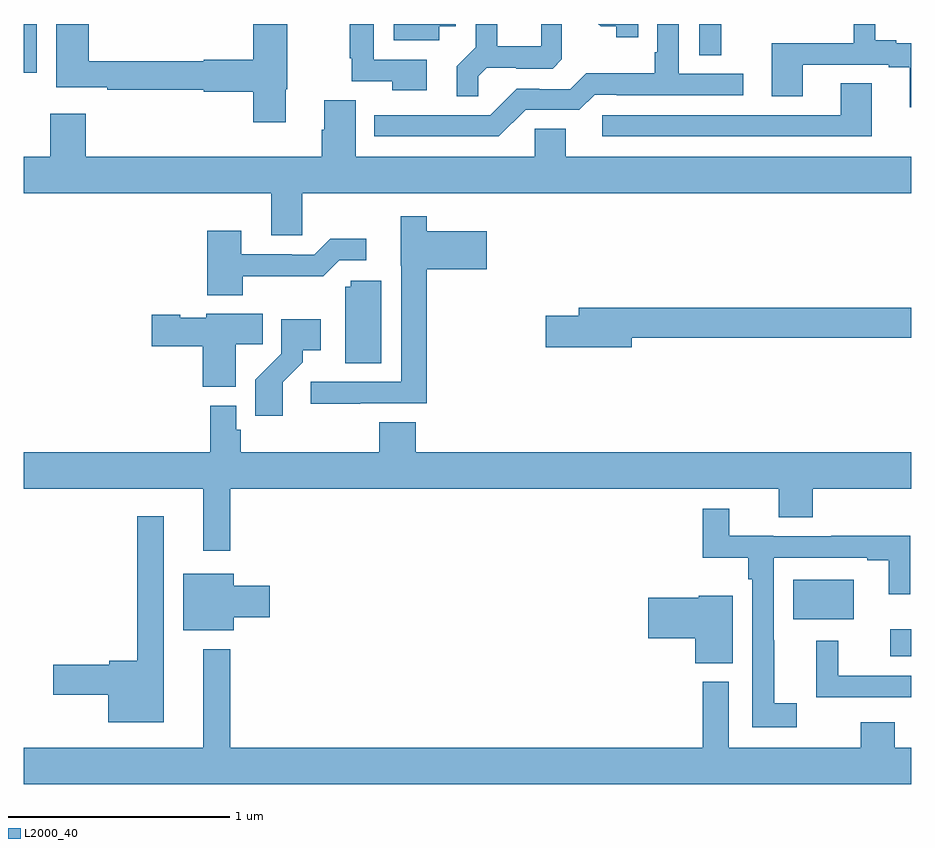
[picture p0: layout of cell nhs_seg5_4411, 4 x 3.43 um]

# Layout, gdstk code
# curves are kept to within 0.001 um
import gdstk
lib = gdstk.Library(unit=1e-6, precision=1e-09)
def R(c, l, rs):  # rectangles x0, y0, x1, y1
    for r in rs: c.add(gdstk.rectangle(r[:2], r[2:], *l))
def P(c, l, *ps):  # polygons
    for p in ps: c.add(gdstk.Polygon(p, *l))
L2000_40 = (2000, 40)

nhs_seg5_4411 = lib.new_cell('nhs_seg5_4411')
R(nhs_seg5_4411, L2000_40, [(372.906,911.948,373,912.07), (372.47,912.116,372.742,912.292), (369,914.579,369.058,914.799), (372.045,914.659,372.144,914.799)])
P(nhs_seg5_4411, L2000_40, [(370.873,914.789),(370.948,914.789),(370.948,914.799),(370.667,914.799),(370.667,914.726),(370.873,914.726)],
  [(371.771,914.799),(371.59,914.799),(371.6,914.789),(371.67,914.789),(371.67,914.739),(371.771,914.739)],
  [(370.816,914.637),(370.578,914.637),(370.578,914.799),(370.47,914.799),(370.47,914.644),(370.477,914.644),(370.477,914.541),(370.66,914.541),(370.66,914.501),(370.816,914.501)],
  [(371.049,914.564),(371.086,914.601),(371.22,914.601),(371.22,914.598),(371.385,914.598),(371.426,914.639),(371.426,914.799),(371.332,914.799),(371.332,914.698),(371.135,914.698),(371.135,914.799),(371.037,914.799),(371.037,914.695),(370.951,914.609),(370.951,914.473),(371.049,914.473)],
  [(371.262,914.412),(371.505,914.412),(371.574,914.481),(371.674,914.481),(371.674,914.478),(372.244,914.478),(372.244,914.574),(371.952,914.574),(371.952,914.799),(371.856,914.799),(371.856,914.671),(371.844,914.671),(371.844,914.578),(371.536,914.578),(371.463,914.505),(371.324,914.505),(371.324,914.508),(371.223,914.508),(371.103,914.388),(370.58,914.388),(370.58,914.292),(371.142,914.292)],
  [(373,914.712),(372.934,914.712),(372.934,914.725),(372.838,914.725),(372.838,914.799),(372.741,914.799),(372.741,914.712),(372.371,914.712),(372.371,914.473),(372.511,914.473),(372.511,914.616),(372.899,914.616),(372.899,914.604),(372.995,914.604),(372.995,914.424),(373,914.424)],
  [(370.18,914.505),(370.188,914.505),(370.188,914.799),(370.034,914.799),(370.034,914.638),(369.81,914.638),(369.81,914.63),(369.293,914.63),(369.293,914.799),(369.146,914.799),(369.146,914.514),(369.376,914.514),(369.376,914.502),(369.81,914.502),(369.81,914.494),(370.034,914.494),(370.034,914.355),(370.18,914.355)],
  [(372.823,914.531),(372.683,914.531),(372.683,914.388),(371.607,914.388),(371.607,914.292),(372.823,914.292)],
  [(370.254,914.036),(373,914.036),(373,914.2),(371.443,914.2),(371.443,914.327),(371.304,914.327),(371.304,914.2),(370.495,914.2),(370.495,914.456),(370.355,914.456),(370.355,914.322),(370.343,914.322),(370.343,914.2),(369.278,914.2),(369.278,914.395),(369.118,914.395),(369.118,914.2),(369,914.2),(369,914.036),(370.115,914.036),(370.115,913.846),(370.254,913.846)],
  [(370.517,913.089),(370.817,913.089),(370.817,913.694),(371.086,913.694),(371.086,913.864),(370.817,913.864),(370.817,913.933),(370.7,913.933),(370.7,913.71),(370.701,913.71),(370.701,913.185),(370.293,913.185),(370.293,913.087),(370.517,913.087)],
  [(369.987,913.662),(370.349,913.661),(370.422,913.734),(370.543,913.734),(370.543,913.831),(370.381,913.831),(370.308,913.758),(370.208,913.758),(370.208,913.761),(369.979,913.761),(369.979,913.867),(369.827,913.867),(369.827,913.577),(369.987,913.577)],
  [(370.612,913.641),(370.473,913.641),(370.473,913.614),(370.448,913.614),(370.448,913.27),(370.612,913.27)],
  [(371.74,913.384),(373,913.384),(373,913.52),(371.501,913.52),(371.501,913.484),(371.352,913.484),(371.352,913.342),(371.74,913.342)],
  [(369.955,913.354),(370.076,913.354),(370.076,913.492),(369.822,913.492),(369.822,913.474),(369.705,913.474),(369.705,913.487),(369.576,913.487),(369.576,913.345),(369.806,913.345),(369.806,913.163),(369.955,913.163)],
  [(370.168,913.183),(370.258,913.273),(370.258,913.328),(370.339,913.328),(370.339,913.468),(370.161,913.468),(370.161,913.313),(370.042,913.194),(370.042,913.032),(370.168,913.032)],
  [(369.931,912.704),(372.404,912.704),(372.404,912.574),(372.557,912.574),(372.557,912.704),(373,912.704),(373,912.868),(370.766,912.868),(370.766,913.004),(370.601,913.004),(370.601,912.868),(369.977,912.868),(369.977,912.969),(369.957,912.969),(369.957,913.078),(369.841,913.078),(369.841,912.868),(369,912.868),(369,912.704),(369.809,912.704),(369.809,912.423),(369.931,912.423)],
  [(372.484,911.737),(372.383,911.737),(372.383,912.02),(372.381,912.02),(372.381,912.393),(372.803,912.393),(372.803,912.381),(372.899,912.381),(372.899,912.228),(372.996,912.228),(372.996,912.491),(372.64,912.491),(372.64,912.489),(372.378,912.489),(372.378,912.491),(372.18,912.491),(372.18,912.613),(372.061,912.613),(372.061,912.392),(372.265,912.392),(372.265,912.296),(372.285,912.296),(372.285,911.628),(372.484,911.628)],
  [(369.631,912.58),(369.51,912.58),(369.51,911.927),(369.384,911.927),(369.384,911.909),(369.132,911.909),(369.132,911.774),(369.38,911.774),(369.38,911.651),(369.631,911.651)],
  [(369.946,912.125),(370.108,912.125),(370.108,912.267),(369.946,912.267),(369.946,912.319),(369.719,912.319),(369.719,912.065),(369.946,912.065)],
  [(372.196,912.22),(372.042,912.22),(372.042,912.212),(371.814,912.212),(371.814,912.029),(372.026,912.029),(372.026,911.917),(372.196,911.917)],
  [(373,911.859),(372.672,911.859),(372.672,912.019),(372.572,912.019),(372.572,911.763),(373,911.763)],
  [(373,911.536),(372.926,911.536),(372.926,911.65),(372.773,911.65),(372.773,911.536),(372.177,911.536),(372.177,911.832),(372.061,911.832),(372.061,911.536),(369.931,911.536),(369.931,911.98),(369.809,911.98),(369.809,911.536),(369,911.536),(369,911.372),(373,911.372)])

lib.write_gds('nhs_seg5_4411.gds')
